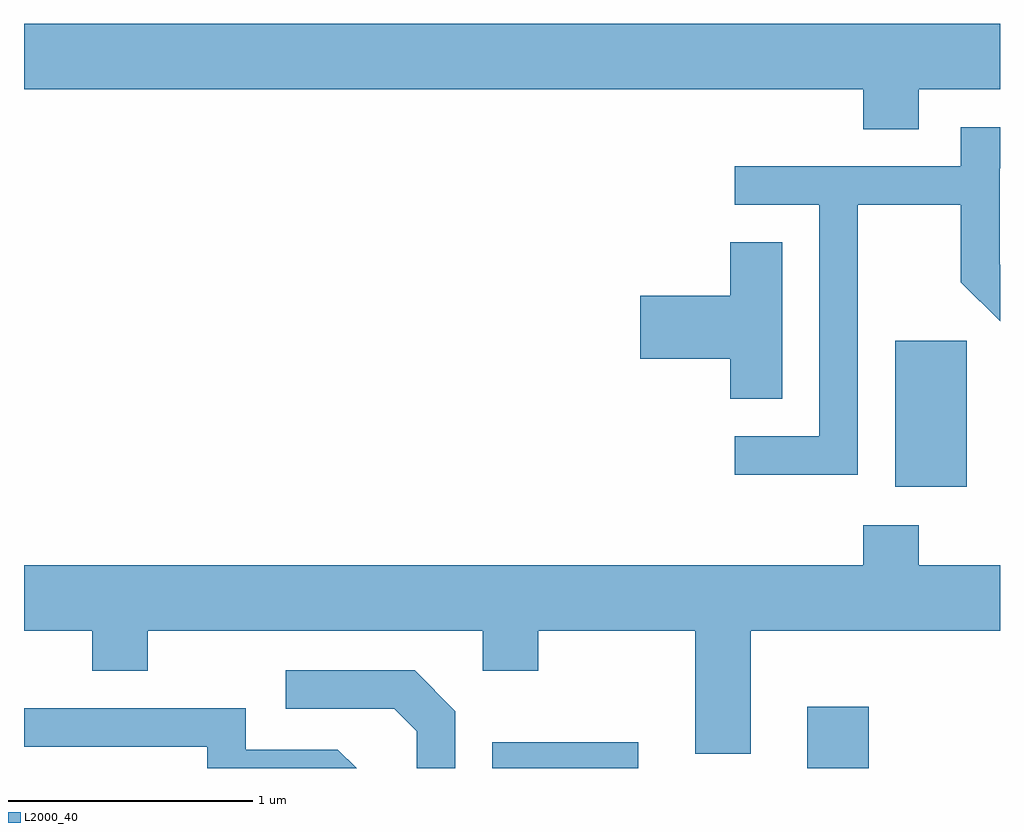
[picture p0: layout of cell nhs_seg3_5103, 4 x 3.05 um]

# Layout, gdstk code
import gdstk
lib = gdstk.Library(unit=1e-6, precision=1e-09)
def R(c, l, rs):  # rectangles x0, y0, x1, y1
    for r in rs: c.add(gdstk.rectangle(r[:2], r[2:], *l))
def P(c, l, *ps):  # polygons
    for p in ps: c.add(gdstk.Polygon(p, *l))
L2000_40 = (2000, 40)

nhs_seg3_5103 = lib.new_cell('nhs_seg3_5103')
R(nhs_seg3_5103, L2000_40, [(337.531,1129.892,338.129,1129.999), (338.821,1129.892,339.074,1130.144), (339.181,1131.046,339.474,1131.644)])
P(nhs_seg3_5103, L2000_40, [(339.279,1132.676),(339.611,1132.676),(339.611,1132.944),(335.611,1132.944),(335.611,1132.676),(339.051,1132.676),(339.051,1132.511),(339.279,1132.511)],
  [(339.029,1132.201),(339.451,1132.201),(339.451,1131.884),(339.611,1131.724),(339.611,1131.955),(339.609,1131.957),(339.609,1132.351),(339.611,1132.351),(339.611,1132.519),(339.451,1132.519),(339.451,1132.359),(338.523,1132.359),(338.523,1132.201),(338.871,1132.201),(338.871,1131.254),(338.523,1131.254),(338.523,1131.096),(339.029,1131.096)],
  [(338.719,1132.049),(338.506,1132.049),(338.506,1131.829),(338.136,1131.829),(338.136,1131.571),(338.506,1131.571),(338.506,1131.406),(338.719,1131.406)],
  [(338.589,1130.456),(339.611,1130.456),(339.611,1130.724),(339.279,1130.724),(339.279,1130.889),(339.051,1130.889),(339.051,1130.724),(335.611,1130.724),(335.611,1130.456),(335.891,1130.456),(335.891,1130.291),(336.119,1130.291),(336.119,1130.456),(337.491,1130.456),(337.491,1130.291),(337.719,1130.291),(337.719,1130.456),(338.361,1130.456),(338.361,1129.951),(338.589,1129.951)],
  [(337.379,1130.127),(337.212,1130.294),(336.683,1130.294),(336.683,1130.136),(337.129,1130.136),(337.221,1130.044),(337.221,1129.892),(337.379,1129.892)],
  [(336.897,1129.969),(336.519,1129.969),(336.519,1130.139),(335.611,1130.139),(335.611,1129.981),(336.361,1129.981),(336.361,1129.892),(336.974,1129.892)])

lib.write_gds('nhs_seg3_5103.gds')
